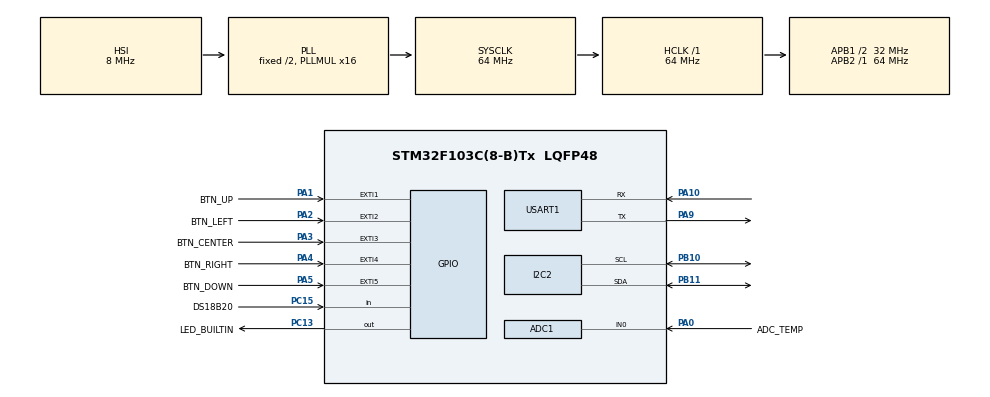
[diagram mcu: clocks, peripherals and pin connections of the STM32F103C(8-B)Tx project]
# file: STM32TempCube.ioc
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ADC1.Channel-0\#ChannelRegularConversion=ADC_CHANNEL_0
ADC1.NbrOfConversion=1
ADC1.NbrOfConversionFlag=1
ADC1.Rank-0\#ChannelRegularConversion=1
ADC1.SamplingTime-0\#ChannelRegularConversion=ADC_SAMPLETIME_1CYCLE_5
ADC1.master=1
I2C2.I2C_Mode=I2C_Fast
Mcu.Family=STM32F1
Mcu.Name=STM32F103C(8-B)Tx
Mcu.Package=LQFP48
Mcu.UserConstants=BTN_CHECK_PERIOD_MS,10
NVIC.EXTI1_IRQn=true\:0\:0\:false\:false\:true\:true\:true
NVIC.EXTI2_IRQn=true\:0\:0\:false\:false\:true\:true\:true
NVIC.EXTI3_IRQn=true\:0\:0\:false\:false\:true\:true\:true
NVIC.EXTI4_IRQn=true\:0\:0\:false\:false\:true\:true\:true
NVIC.EXTI9_5_IRQn=true\:0\:0\:false\:false\:true\:true\:true
NVIC.PriorityGroup=NVIC_PRIORITYGROUP_4
NVIC.TIM4_IRQn=true\:0\:0\:false\:false\:true\:true\:true
NVIC.USART1_IRQn=true\:0\:0\:false\:false\:true\:true\:true
PA0-WKUP.GPIO_Label=ADC_TEMP
PA0-WKUP.Signal=ADCx_IN0
PA1.GPIO_Label=BTN_UP
PA1.GPIO_ModeDefaultEXTI=GPIO_MODE_IT_RISING_FALLING
PA1.GPIO_PuPd=GPIO_PULLUP
PA1.Signal=GPXTI1
PA10.Mode=Asynchronous
PA10.Signal=USART1_RX
PA13.Mode=Serial_Wire
PA13.Signal=SYS_JTMS-SWDIO
PA14.Mode=Serial_Wire
PA14.Signal=SYS_JTCK-SWCLK
PA2.GPIO_Label=BTN_LEFT
PA2.GPIO_ModeDefaultEXTI=GPIO_MODE_IT_RISING_FALLING
PA2.GPIO_PuPd=GPIO_PULLUP
PA2.Signal=GPXTI2
PA3.GPIO_Label=BTN_CENTER
PA3.GPIO_ModeDefaultEXTI=GPIO_MODE_IT_RISING_FALLING
PA3.GPIO_PuPd=GPIO_PULLUP
PA3.Signal=GPXTI3
PA4.GPIO_Label=BTN_RIGHT
PA4.GPIO_ModeDefaultEXTI=GPIO_MODE_IT_RISING_FALLING
PA4.GPIO_PuPd=GPIO_PULLUP
PA4.Signal=GPXTI4
PA5.GPIO_Label=BTN_DOWN
PA5.GPIO_ModeDefaultEXTI=GPIO_MODE_IT_RISING_FALLING
PA5.GPIO_PuPd=GPIO_PULLUP
PA5.Signal=GPXTI5
PA9.Mode=Asynchronous
PA9.Signal=USART1_TX
PB10.Mode=I2C
PB10.Signal=I2C2_SCL
PB11.Mode=I2C
PB11.Signal=I2C2_SDA
PC13-TAMPER-RTC.GPIO_Label=LED_BUILTIN
PC13-TAMPER-RTC.Signal=GPIO_Output
PC15-OSC32_OUT.GPIO_Label=DS18B20
PC15-OSC32_OUT.GPIO_PuPd=GPIO_PULLUP
PC15-OSC32_OUT.Signal=GPIO_Input
ProjectManager.HeapSize=0x200
ProjectManager.StackSize=0x400
ProjectManager.TargetToolchain=STM32CubeIDE
RCC.ADCPresc=RCC_ADCPCLK2_DIV8
RCC.AHBFreq_Value=64000000
RCC.APB1CLKDivider=RCC_HCLK_DIV2
RCC.APB1Freq_Value=32000000
RCC.APB1TimFreq_Value=64000000
RCC.APB2Freq_Value=64000000
RCC.APB2TimFreq_Value=64000000
RCC.HCLKFreq_Value=64000000
RCC.PLLMUL=RCC_PLL_MUL16
RCC.SYSCLKFreq_VALUE=64000000
RCC.SYSCLKSource=RCC_SYSCLKSOURCE_PLLCLK
RCC.USBFreq_Value=64000000
SH.ADCx_IN0.0=ADC1_IN0,IN0
TIM1.Period=0xffff-1
TIM1.Prescaler=64-1
TIM4.Period=(64 * BTN_CHECK_PERIOD_MS)-1
TIM4.Prescaler=1000-1
USART1.VirtualMode=VM_ASYNC
VP_TIM1_VS_ClockSourceINT.Mode=Internal
VP_TIM4_VS_ClockSourceINT.Mode=Internal
board=custom

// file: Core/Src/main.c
/* USER CODE BEGIN Header */
/**
 ******************************************************************************
 * @file           : main.c
 * @brief          : Main program body
 ******************************************************************************
 * @attention
 *
 * <h2><center>&copy; Copyright (c) 2020 STMicroelectronics.
 * All rights reserved.</center></h2>
 *
 * This software component is licensed by ST under BSD 3-Clause license,
 * the "License"; You may not use this file except in compliance with the
 * License. You may obtain a copy of the License at:
 *                        opensource.org/licenses/BSD-3-Clause
 *
 ******************************************************************************
 * Notes:
 * RTC is not accurate. Runs at ~x1.07 speed.
 */

/* USER CODE END Header */
#include "main.h"

/* USER CODE BEGIN Includes */
#include <stdio.h>
#include <stdarg.h>

#include "fonts.h"
#include "ssd1306.h"
#include "bmp280.h"
//#include "ds18b20.h"
/* USER CODE END Includes */

/* USER CODE BEGIN PD */
#define MIN(A, B) A < B? A : B
#define MAX(A, B) A > B? A : B

#define TEMP_FAILED -404
#define TEMP_MIN -20.0
#define TEMP_MAX 80.0
#define ADC_CALIB_SLOPE -0.1169
#define ADC_CALIB_BIAS 374.24
#define CYCLE_PERIOD_MS (int)(5 * 60 * 1000) // Min cycle period is 2000
#define CYCLES_PER_DAY (int)(24 * 3600 * 1000 / CYCLE_PERIOD_MS)

#define EEPROM_ADDRESS 0xA0                         // 0b1010(A2)(A1)(A0)(R/W) = 0b1010000
#define EEPROM_SIZE_BYTES 32768                     // 65536 bytes for 512kbit version
#define EEPROM_PAGE_SIZE 64                         // Although AT24C512 page size is 128B but 64B is more portable
#define EEPROM_PAGE_TEMP_COUNT EEPROM_PAGE_SIZE / 2 // Temperature readings per page
#define EEPROM_BLOCK_ERASE_SIZE 64                  // Can be <=EEPORM_PAGE_SIZE
#define EEPROM_ERASED_VALUE 0xFF
#define EEPROM_ERASED_TEMP 0xFFFF

#define CYCLE_MEM_SIZE_BYTES 6 // Amount of data needed to store data one cycle
#define ADDR_TEMP 1024
//#define ADDR_BOOT_DATA 0          // Address of boot data
//#define ADDR_BOOT_DATA_LAST 1023  // Last address of boot data

#define FONT_SPACING 13

#define DEBOUNCE_PERIOD_MS 29
#define BTN_COUNT 5 // Number of buttons on the keypad
#define NO_PIN 0x00 // Dummy pin. Should be mapped to no pin in HAL library (check to be sure)
/* USER CODE END PD */

ADC_HandleTypeDef hadc1;

I2C_HandleTypeDef hi2c2;

TIM_HandleTypeDef htim1;
TIM_HandleTypeDef htim4;

UART_HandleTypeDef huart1;

/* USER CODE BEGIN PV */
/*
 typedef struct
 {
 // Do not change order
 uint8_t hr :5;
 uint8_t min :6;
 uint8_t sec :6;
 // padding 1 byte
 uint16_t ms :10;
 } Time;
 */

typedef struct
{
	uint32_t ms_change;  // Last time button state changed in ms
	uint8_t state :1;
	uint8_t prev_state :1;
	uint8_t do_debounce_checks :1; // If false skips global debounce check to preserve prev_state
} ButtonDebounced;

typedef struct
{
	uint16_t temp_1w;
	uint16_t temp_i2c;
	uint16_t temp_adc;
} Temps16;

BMP280_HandleTypedef bmp280;
volatile ButtonDebounced btn_arr[BTN_COUNT + 1] = {};  // All set to 0

static const uint16_t btn_mapping[] = { NO_PIN, BTN_UP_Pin, BTN_LEFT_Pin, BTN_CENTER_Pin, BTN_RIGHT_Pin, BTN_DOWN_Pin };

volatile uint32_t ms_ticks = 0; // Good for 49.7 days
static int cycle_count = 0;
static uint32_t next_cycle_tick = 0;
/* USER CODE END PV */

void SystemClock_Config(void);
static void MX_GPIO_Init(void);
static void MX_USART1_UART_Init(void);
static void MX_TIM1_Init(void);
static void MX_I2C2_Init(void);
static void MX_ADC1_Init(void);
static void MX_TIM4_Init(void);
/* USER CODE BEGIN PFP */

void Reset_Cycles(void);

void BMP280_Init(void);
void ADC_Init(void);
float DS18B20_Read_Temp(void);
float BMP280_Read_Temp(void);
float ADC_Read_Temp(void);

void EEPROM_Read(uint16_t mem_addr, uint8_t *p_data, uint16_t data_size);
void EEPROM_Write(uint16_t mem_addr, uint8_t *p_data, uint16_t data_size);
void EEPROM_Erase(void);

void Temp_Save_Single(uint16_t place, uint16_t temp);
void Temp_Save(uint16_t place, Temps16 temps);
uint16_t Temp_Read_Single(uint16_t place);
Temps16 Temp_Read(uint16_t place);
uint16_t Temp_Next_Free_Place(void);
void Temp_Send_UART(void);
uint16_t Temp_Enc(const float temp); // Encode temperature
float Temp_Dec(const uint16_t temp); // Decode temperature

void Print_Info(const char *info);
void Print_Time(uint16_t time, uint16_t off_v);
void Print_Simple(uint8_t line, const char *format, ...);
void Print_Temps(uint8_t line, Temps16 temps);
void Print_Booting_Info(void);
void Clear_Booting_Info(void);

void Set_Pin_Output(GPIO_TypeDef *GPIOx, uint16_t GPIO_Pin);
void Set_Pin_Input(GPIO_TypeDef *GPIOx, uint16_t GPIO_Pin);
void Delay_Us(uint16_t us);

uint8_t DS18B20_Start(void);
void DS18B20_Write(uint8_t data);
uint8_t DS18B20_Read(void);

//Time Get_Time(void);
float Clamp(float val, float min, float max);

void Btn_Init(void);
uint8_t Btn_Index(const uint16_t btn_pin);
uint8_t Btn_Read(const uint16_t btn_pin);
uint8_t Btn_Hold(const uint16_t btn_pin, const uint16_t hold_time_ms);
uint8_t Btn_Falling(const uint16_t btn_pin);
uint8_t Btn_Rising(const uint16_t btn_pin);
void Button_Actions(void);

Temps16 Temp_Max_All_Time(void);
Temps16 Temp_Max_Last_Day(void);
Temps16 Temp_Min_All_Time(void);
Temps16 Temp_Min_Last_Day(void);

/* USER CODE END PFP */

int main(void)
{

	/* MCU Configuration--------------------------------------------------------*/

	/* Reset of all peripherals, Initializes the Flash interface and the Systick. */
	HAL_Init();

	/* Configure the system clock */
	SystemClock_Config();

	/* Initialize all configured peripherals */
	MX_GPIO_Init();
	MX_USART1_UART_Init();
	MX_TIM1_Init();
	MX_I2C2_Init();
	MX_ADC1_Init();
	MX_TIM4_Init();
	/* USER CODE BEGIN 2 */
	Btn_Init();
	SSD1306_Init();
	Print_Booting_Info();
	HAL_TIM_Base_Start(&htim1);
	BMP280_Init();
	ADC_Init();

	// Send temperature data via UART
	if (Btn_Read(BTN_UP_Pin))
	{
		Print_Info("Sending\n");
		Temp_Send_UART();
		Print_Info("Reboot to run\n");

		while (1)
			; // Halt
	}

	HAL_Delay(1000);
	Clear_Booting_Info();
	/* USER CODE END 2 */

	/* Infinite loop */
	/* USER CODE BEGIN WHILE */
	Reset_Cycles();
	next_cycle_tick += CYCLE_PERIOD_MS;
	cycle_count = Temp_Next_Free_Place();
	Temps16 temps;
	while (1)
	{
		cycle_count++;
		Print_Simple(0, "RUNNING: %04u\n", cycle_count);

		// Check is there space left
		if (cycle_count >= EEPROM_SIZE_BYTES / sizeof(Temps16))
		{
			while (1)
			{
				Print_Simple(0, " -DONE-: %04u\n", cycle_count);
				Print_Temps(1, temps);
				Print_Simple(2, " Reboot to restart");
				Print_Simple(3, " Or Reboot holding");
				Print_Simple(4, "Btn Up to send data");
				Button_Actions();
				SSD1306_UpdateScreen();
				HAL_Delay(200);
			}
		}

		// Measuring and saving temperature to EEPROM
		temps.temp_1w = Temp_Enc(DS18B20_Read_Temp());
		temps.temp_i2c = Temp_Enc(BMP280_Read_Temp());
		temps.temp_adc = Temp_Enc(ADC_Read_Temp()); // First reading is off by 3deg

		Temp_Save(cycle_count - 1, temps);

		// Displaying current info
		Print_Temps(1, temps);
		SSD1306_DrawLine(0, FONT_SPACING * 2 - 2, 128, FONT_SPACING * 2 - 2, 1);
		SSD1306_UpdateScreen();

		// Idling & polling buttons for actions
		while (ms_ticks < next_cycle_tick)
			Button_Actions();

		next_cycle_tick += CYCLE_PERIOD_MS;

		/* USER CODE END WHILE */

	}
}

void SystemClock_Config(void)
{
	RCC_OscInitTypeDef RCC_OscInitStruct = { 0 };
	RCC_ClkInitTypeDef RCC_ClkInitStruct = { 0 };
	RCC_PeriphCLKInitTypeDef PeriphClkInit = { 0 };

	/** Initializes the RCC Oscillators according to the specified parameters
	 * in the RCC_OscInitTypeDef structure.
	 */
	RCC_OscInitStruct.OscillatorType = RCC_OSCILLATORTYPE_HSI;
	RCC_OscInitStruct.HSIState = RCC_HSI_ON;
	RCC_OscInitStruct.HSICalibrationValue = RCC_HSICALIBRATION_DEFAULT;
	RCC_OscInitStruct.PLL.PLLState = RCC_PLL_ON;
	RCC_OscInitStruct.PLL.PLLSource = RCC_PLLSOURCE_HSI_DIV2;
	RCC_OscInitStruct.PLL.PLLMUL = RCC_PLL_MUL16;
	if (HAL_RCC_OscConfig(&RCC_OscInitStruct) != HAL_OK)
	{
		Error_Handler();
	}
	/** Initializes the CPU, AHB and APB buses clocks
	 */
	RCC_ClkInitStruct.ClockType = RCC_CLOCKTYPE_HCLK | RCC_CLOCKTYPE_SYSCLK | RCC_CLOCKTYPE_PCLK1 | RCC_CLOCKTYPE_PCLK2;
	RCC_ClkInitStruct.SYSCLKSource = RCC_SYSCLKSOURCE_PLLCLK;
	RCC_ClkInitStruct.AHBCLKDivider = RCC_SYSCLK_DIV1;
	RCC_ClkInitStruct.APB1CLKDivider = RCC_HCLK_DIV2;
	RCC_ClkInitStruct.APB2CLKDivider = RCC_HCLK_DIV1;

	if (HAL_RCC_ClockConfig(&RCC_ClkInitStruct, FLASH_LATENCY_2) != HAL_OK)
	{
		Error_Handler();
	}
	PeriphClkInit.PeriphClockSelection = RCC_PERIPHCLK_ADC;
	PeriphClkInit.AdcClockSelection = RCC_ADCPCLK2_DIV8;
	if (HAL_RCCEx_PeriphCLKConfig(&PeriphClkInit) != HAL_OK)
	{
		Error_Handler();
	}
}

static void MX_ADC1_Init(void)
{

	ADC_ChannelConfTypeDef sConfig = { 0 };

	/** Common config
	 */
	hadc1.Instance = ADC1;
	hadc1.Init.ScanConvMode = ADC_SCAN_DISABLE;
	hadc1.Init.ContinuousConvMode = DISABLE;
	hadc1.Init.DiscontinuousConvMode = DISABLE;
	hadc1.Init.ExternalTrigConv = ADC_SOFTWARE_START;
	hadc1.Init.DataAlign = ADC_DATAALIGN_RIGHT;
	hadc1.Init.NbrOfConversion = 1;
	if (HAL_ADC_Init(&hadc1) != HAL_OK)
	{
		Error_Handler();
	}
	/** Configure Regular Channel
	 */
	sConfig.Channel = ADC_CHANNEL_0;
	sConfig.Rank = ADC_REGULAR_RANK_1;
	sConfig.SamplingTime = ADC_SAMPLETIME_1CYCLE_5;
	if (HAL_ADC_ConfigChannel(&hadc1, &sConfig) != HAL_OK)
	{
		Error_Handler();
	}

}

static void MX_I2C2_Init(void)
{

	hi2c2.Instance = I2C2;
	hi2c2.Init.ClockSpeed = 400000;
	hi2c2.Init.DutyCycle = I2C_DUTYCYCLE_2;
	hi2c2.Init.OwnAddress1 = 0;
	hi2c2.Init.AddressingMode = I2C_ADDRESSINGMODE_7BIT;
	hi2c2.Init.DualAddressMode = I2C_DUALADDRESS_DISABLE;
	hi2c2.Init.OwnAddress2 = 0;
	hi2c2.Init.GeneralCallMode = I2C_GENERALCALL_DISABLE;
	hi2c2.Init.NoStretchMode = I2C_NOSTRETCH_DISABLE;
	if (HAL_I2C_Init(&hi2c2) != HAL_OK)
	{
		Error_Handler();
	}

}

static void MX_TIM1_Init(void)
{

	TIM_ClockConfigTypeDef sClockSourceConfig = { 0 };
	TIM_MasterConfigTypeDef sMasterConfig = { 0 };

	htim1.Instance = TIM1;
	htim1.Init.Prescaler = 64 - 1;
	htim1.Init.CounterMode = TIM_COUNTERMODE_UP;
	htim1.Init.Period = 0xffff - 1;
	htim1.Init.ClockDivision = TIM_CLOCKDIVISION_DIV1;
	htim1.Init.RepetitionCounter = 0;
	htim1.Init.AutoReloadPreload = TIM_AUTORELOAD_PRELOAD_DISABLE;
	if (HAL_TIM_Base_Init(&htim1) != HAL_OK)
	{
		Error_Handler();
	}
	sClockSourceConfig.ClockSource = TIM_CLOCKSOURCE_INTERNAL;
	if (HAL_TIM_ConfigClockSource(&htim1, &sClockSourceConfig) != HAL_OK)
	{
		Error_Handler();
	}
	sMasterConfig.MasterOutputTrigger = TIM_TRGO_RESET;
	sMasterConfig.MasterSlaveMode = TIM_MASTERSLAVEMODE_DISABLE;
	if (HAL_TIMEx_MasterConfigSynchronization(&htim1, &sMasterConfig) != HAL_OK)
	{
		Error_Handler();
	}

}

static void MX_TIM4_Init(void)
{

	TIM_ClockConfigTypeDef sClockSourceConfig = { 0 };
	TIM_MasterConfigTypeDef sMasterConfig = { 0 };

	htim4.Instance = TIM4;
	htim4.Init.Prescaler = 1000 - 1;
	htim4.Init.CounterMode = TIM_COUNTERMODE_UP;
	htim4.Init.Period = (64 * BTN_CHECK_PERIOD_MS) - 1;
	htim4.Init.ClockDivision = TIM_CLOCKDIVISION_DIV1;
	htim4.Init.AutoReloadPreload = TIM_AUTORELOAD_PRELOAD_DISABLE;
	if (HAL_TIM_Base_Init(&htim4) != HAL_OK)
	{
		Error_Handler();
	}
	sClockSourceConfig.ClockSource = TIM_CLOCKSOURCE_INTERNAL;
	if (HAL_TIM_ConfigClockSource(&htim4, &sClockSourceConfig) != HAL_OK)
	{
		Error_Handler();
	}
	sMasterConfig.MasterOutputTrigger = TIM_TRGO_RESET;
	sMasterConfig.MasterSlaveMode = TIM_MASTERSLAVEMODE_DISABLE;
	if (HAL_TIMEx_MasterConfigSynchronization(&htim4, &sMasterConfig) != HAL_OK)
	{
		Error_Handler();
	}

}

static void MX_USART1_UART_Init(void)
{

	huart1.Instance = USART1;
	huart1.Init.BaudRate = 115200;
	huart1.Init.WordLength = UART_WORDLENGTH_8B;
	huart1.Init.StopBits = UART_STOPBITS_1;
	huart1.Init.Parity = UART_PARITY_NONE;
	huart1.Init.Mode = UART_MODE_TX_RX;
	huart1.Init.HwFlowCtl = UART_HWCONTROL_NONE;
	huart1.Init.OverSampling = UART_OVERSAMPLING_16;
	if (HAL_UART_Init(&huart1) != HAL_OK)
	{
		Error_Handler();
	}

}

static void MX_GPIO_Init(void)
{
	GPIO_InitTypeDef GPIO_InitStruct = { 0 };

	/* GPIO Ports Clock Enable */
	__HAL_RCC_GPIOC_CLK_ENABLE();
	__HAL_RCC_GPIOA_CLK_ENABLE();
	__HAL_RCC_GPIOB_CLK_ENABLE();

	/*Configure GPIO pin Output Level */
	HAL_GPIO_WritePin(LED_BUILTIN_GPIO_Port, LED_BUILTIN_Pin, GPIO_PIN_RESET);

	/*Configure GPIO pin : LED_BUILTIN_Pin */
	GPIO_InitStruct.Pin = LED_BUILTIN_Pin;
	GPIO_InitStruct.Mode = GPIO_MODE_OUTPUT_PP;
	GPIO_InitStruct.Pull = GPIO_NOPULL;
	GPIO_InitStruct.Speed = GPIO_SPEED_FREQ_LOW;
	HAL_GPIO_Init(LED_BUILTIN_GPIO_Port, &GPIO_InitStruct);

	/*Configure GPIO pin : DS18B20_Pin */
	GPIO_InitStruct.Pin = DS18B20_Pin;
	GPIO_InitStruct.Mode = GPIO_MODE_INPUT;
	GPIO_InitStruct.Pull = GPIO_PULLUP;
	HAL_GPIO_Init(DS18B20_GPIO_Port, &GPIO_InitStruct);

	/*Configure GPIO pins : BTN_UP_Pin BTN_LEFT_Pin BTN_CENTER_Pin BTN_RIGHT_Pin
	 BTN_DOWN_Pin */
	GPIO_InitStruct.Pin = BTN_UP_Pin | BTN_LEFT_Pin | BTN_CENTER_Pin | BTN_RIGHT_Pin | BTN_DOWN_Pin;
	GPIO_InitStruct.Mode = GPIO_MODE_IT_RISING_FALLING;
	GPIO_InitStruct.Pull = GPIO_PULLUP;
	HAL_GPIO_Init(GPIOA, &GPIO_InitStruct);

	/* EXTI interrupt init*/
	HAL_NVIC_SetPriority(EXTI1_IRQn, 0, 0);
	HAL_NVIC_EnableIRQ(EXTI1_IRQn);

	HAL_NVIC_SetPriority(EXTI2_IRQn, 0, 0);
	HAL_NVIC_EnableIRQ(EXTI2_IRQn);

	HAL_NVIC_SetPriority(EXTI3_IRQn, 0, 0);
	HAL_NVIC_EnableIRQ(EXTI3_IRQn);

	HAL_NVIC_SetPriority(EXTI4_IRQn, 0, 0);
	HAL_NVIC_EnableIRQ(EXTI4_IRQn);

	HAL_NVIC_SetPriority(EXTI9_5_IRQn, 0, 0);
	HAL_NVIC_EnableIRQ(EXTI9_5_IRQn);

}

/* USER CODE BEGIN 4 */
void Reset_Cycles(void)
{
	cycle_count = 0;
	next_cycle_tick = ms_ticks;
}

void BMP280_Init(void)
{
	bmp280_init_default_params(&bmp280.params);
	bmp280.addr = BMP280_I2C_ADDRESS_0;
	bmp280.i2c = &hi2c2;

	if (!bmp280_init(&bmp280, &bmp280.params))
	{
		Print_Info("I2C init FAILED\n");
		HAL_Delay(1000);
	}

//	bool bme280p = (bmp280.id == BME280_CHIP_ID);
//	Print_Simple(9, (char*)Data, "BMP280: found %s\n", bme280p ? "BME280" : "BMP280");
}

void ADC_Init(void)
{
	// Discards first bad reading
	ADC_Read_Temp();
}

float DS18B20_Read_Temp(void)
{
	// Start temperature sensing and wait until it's done
	int s1 = DS18B20_Start();
	DS18B20_Write(0xCC); // Skip ROM
	DS18B20_Write(0x44); // Convert t
	HAL_Delay(800); // Waiting for conversion to end

	// Read acquired temperature
	int s2 = DS18B20_Start();
	DS18B20_Write(0xCC); // Skip ROM
	DS18B20_Write(0xBE); // Read Scratch-pad
	uint8_t temp_byte1 = DS18B20_Read();
	uint8_t temp_byte2 = DS18B20_Read();

	if (!s1 || !s2)
	{
		Print_Info("1-Wire Failed");
		HAL_Delay(500);
		return TEMP_FAILED;
	}

	// Decode temperature
	uint16_t temp = (temp_byte2 << 8) | temp_byte1;
	float temperature = (float)temp / 16.0;

	return temperature;
}

float BMP280_Read_Temp(void)
{
	float pressure, temperature, humidity;

	if (!bmp280_read_float(&bmp280, &temperature, &pressure, &humidity))
	{
		Print_Info("I2C read FAILED\n");
		HAL_Delay(500);
		temperature = TEMP_FAILED;
	}

	return temperature;
}

float ADC_Read_Temp(void)
{
	uint8_t readings_num = 10;
	float temperature;
	uint32_t adc_val = 0;

	HAL_ADC_Start(&hadc1);
	for (int i = 0; i < readings_num; i++)
	{
		HAL_ADC_PollForConversion(&hadc1, 10);
		adc_val += HAL_ADC_GetValue(&hadc1);
		HAL_Delay(1);
	}
	adc_val /= readings_num;

	temperature = ADC_CALIB_SLOPE * adc_val + ADC_CALIB_BIAS; // ADC value to temperature conversion

	return temperature;
}

void EEPROM_Read(uint16_t mem_addr, uint8_t *p_data, uint16_t data_size)
{
	while (HAL_I2C_Mem_Read(&hi2c2, EEPROM_ADDRESS, mem_addr, I2C_MEMADD_SIZE_16BIT, p_data, data_size, 1000) != HAL_OK)
		HAL_Delay(1);
}

void EEPROM_Write(uint16_t mem_addr, uint8_t *p_data, uint16_t data_size)
{
	// TODO maybe: Needs checking for page crossing; page = 64B. Or else use carefully
	while (HAL_I2C_Mem_Write(&hi2c2, EEPROM_ADDRESS, mem_addr, I2C_MEMADD_SIZE_16BIT, p_data, data_size, 1000) != HAL_OK)
		HAL_Delay(1);
}

void EEPROM_Erase(void)
{
	uint8_t erased[EEPROM_BLOCK_ERASE_SIZE];
	memset(erased, EEPROM_ERASED_VALUE, sizeof(erased));

	for (int i = 0; i < (int)(EEPROM_SIZE_BYTES / EEPROM_BLOCK_ERASE_SIZE); i++)
	{
		while (HAL_I2C_Mem_Write(&hi2c2, EEPROM_ADDRESS, i * EEPROM_BLOCK_ERASE_SIZE,
		I2C_MEMADD_SIZE_16BIT, erased, EEPROM_BLOCK_ERASE_SIZE, 1000) != HAL_OK)
			HAL_Delay(1);
	}
}

void Temp_Save_Single(uint16_t place, uint16_t temp)
{
	EEPROM_Write(ADDR_TEMP + 2 * place, (uint8_t*)&temp, 2); // Won't cross page boundary 64 % 2 = 0
}

void Temp_Save(uint16_t place, Temps16 temps)
{
	// Saved separately to prevent page boundary crossing
	Temp_Save_Single(3 * place + 0, temps.temp_1w);
	Temp_Save_Single(3 * place + 1, temps.temp_i2c);
	Temp_Save_Single(3 * place + 2, temps.temp_adc);
}

uint16_t Temp_Read_Single(uint16_t place)
{
	uint16_t temp_encoded;
	EEPROM_Read(ADDR_TEMP + sizeof(temp_encoded) * place, (uint8_t*)&temp_encoded, sizeof(temp_encoded));
	return temp_encoded;
}

Temps16 Temp_Read(uint16_t place)
{
	Temps16 temps;
	EEPROM_Read(ADDR_TEMP + sizeof(temps) * place, (uint8_t*)&temps, sizeof(temps));
	return temps;
}

uint16_t Temp_Next_Free_Place(void)
{
	int i;
	for (i = 0; i < EEPROM_SIZE_BYTES / sizeof(Temps16); i++)
	{
		Temps16 t = Temp_Read(i);
		if (t.temp_adc == EEPROM_ERASED_TEMP)
			break;
	}

	return i;
}

// Send temperature data via UART in CSV format
void Temp_Send_UART(void)
{
	const uint8_t num_of_temp_channels = 3;
	char text[16];
	uint8_t text_len;

	// Reading number
	const uint16_t readings_count = Temp_Next_Free_Place();
	for (int i = 0; i < readings_count; i++)
	{
		text_len = sprintf(text, "%d,", i);
		HAL_UART_Transmit(&huart1, (uint8_t*)text, text_len, 10);
	}
	HAL_UART_Transmit(&huart1, (uint8_t*)"\n", 1, 10);

	// Temperatures in 3 rows
	for (int i = 0; i < num_of_temp_channels; i++)
	{
		for (int j = i; j < EEPROM_SIZE_BYTES; j += num_of_temp_channels)
		{
			uint16_t temp = Temp_Read_Single(j);
			if (temp == EEPROM_ERASED_TEMP)
				break;

			float temp_float = Temp_Dec(temp);
			text_len = sprintf(text, "%.3f,", temp_float);
			HAL_UART_Transmit(&huart1, (uint8_t*)text, text_len, 10);

			if (j % 100 == 0)
				HAL_Delay(10);
		}
		HAL_UART_Transmit(&huart1, (uint8_t*)"\n", 1, 10);
	}
}

// Encode temperature
uint16_t Temp_Enc(const float temp)
{
	float temp_clamped = Clamp(temp, TEMP_MIN, TEMP_MAX);
	return (temp_clamped + 20) * 655;
}

// Decode temperature
float Temp_Dec(const uint16_t temp)
{
	return (float)temp / 655.0 - 20.0;
}

void Print_Info(const char *info)
{
	Print_Simple(0, info);
	SSD1306_UpdateScreen();
}

// For debugging
void Print_Time(uint16_t time, uint16_t off_v)
{
	char text[50];
	sprintf(text, "us: %x", time);
	SSD1306_GotoXY(0, off_v);
	SSD1306_Puts(text, &Font_7x10, 1);
}

// For debugging
void Print_Simple(uint8_t line, const char *format, ...)
{
	char text[128];
	int text_len;

	va_list args;
	va_start(args, format);

// Send via UART and display on screen
	text_len = vsprintf(text, format, args);
	HAL_UART_Transmit(&huart1, (uint8_t*)text, text_len, 1000);

// Clear line
	SSD1306_GotoXY(0, FONT_SPACING * line);
	SSD1306_Puts("                    ", &Font_7x10, 1);

// Clear \n character for display
	if (text[text_len - 1] == '\n')
		text[text_len - 1] = '\0';

	SSD1306_GotoXY(0, FONT_SPACING * line);
	SSD1306_Puts(text, &Font_7x10, 1);
	SSD1306_UpdateScreen(); // Could be removed for performance and updated only when needed

	va_end(args);
}

void Print_Temps(uint8_t line, Temps16 temps)
{
	Print_Simple(line, "%0.2f %0.2f %0.2f\n", Temp_Dec(temps.temp_1w), Temp_Dec(temps.temp_i2c), Temp_Dec(temps.temp_adc));
}

void Print_Booting_Info(void)
{
	Print_Info("BOOTING\n");
	Print_Simple(2, " Reboot holding\n");
	Print_Simple(3, "  Button UP to\n");
	Print_Simple(4, "send data via UART\n");
	SSD1306_UpdateScreen();
}

void Clear_Booting_Info(void)
{
	Print_Info("");
	Print_Simple(2, "");
	Print_Simple(3, "");
	Print_Simple(4, "");
	SSD1306_UpdateScreen();
}

void Set_Pin_Output(GPIO_TypeDef *GPIOx, uint16_t GPIO_Pin)
{
	GPIO_InitTypeDef GPIO_InitStruct = { 0 };
	GPIO_InitStruct.Pin = GPIO_Pin;
	GPIO_InitStruct.Mode = GPIO_MODE_OUTPUT_PP;
	GPIO_InitStruct.Speed = GPIO_SPEED_FREQ_LOW;
	HAL_GPIO_Init(GPIOx, &GPIO_InitStruct);
}

void Set_Pin_Input(GPIO_TypeDef *GPIOx, uint16_t GPIO_Pin)
{
	GPIO_InitTypeDef GPIO_InitStruct = { 0 };
	GPIO_InitStruct.Pin = GPIO_Pin;
	GPIO_InitStruct.Mode = GPIO_MODE_INPUT;
	GPIO_InitStruct.Pull = GPIO_PULLUP;
	HAL_GPIO_Init(GPIOx, &GPIO_InitStruct);
}

void Delay_Us(uint16_t us)
{
	__HAL_TIM_SET_COUNTER(&htim1, 0); // Set the counter value a 0
	while (__HAL_TIM_GET_COUNTER(&htim1) < us)
		; // Wait for the counter to reach the us input in the parameter
}

uint8_t DS18B20_Start(void)
{
	uint8_t presence = 0;

	Set_Pin_Output(DS18B20_GPIO_Port, DS18B20_Pin);
	HAL_GPIO_WritePin(DS18B20_GPIO_Port, DS18B20_Pin, 0);
	Delay_Us(480);

	Set_Pin_Input(DS18B20_GPIO_Port, DS18B20_Pin);
	Delay_Us(100); // min: 30us max ~240us

	if (!(HAL_GPIO_ReadPin(DS18B20_GPIO_Port, DS18B20_Pin)))
		presence = 1;
	else
		presence = 0;

	Delay_Us(380); // Min total delay 480 us

	return presence;
}

void DS18B20_Write(uint8_t data)
{
	Set_Pin_Output(DS18B20_GPIO_Port, DS18B20_Pin);

	for (int i = 0; i < 8; i++)
	{
		if ((data & (1 << i)) != 0)
		{
			// Write 1
			Set_Pin_Output(DS18B20_GPIO_Port, DS18B20_Pin);
			HAL_GPIO_WritePin(DS18B20_GPIO_Port, DS18B20_Pin, 0);
			Delay_Us(2); // Mininum 1us to pull low
			Set_Pin_Input(DS18B20_GPIO_Port, DS18B20_Pin);
			Delay_Us(60); // DS18B20 samples state after 15-60us from falling edge
		}
		else
		{
			// Write 0
			Set_Pin_Output(DS18B20_GPIO_Port, DS18B20_Pin);
			HAL_GPIO_WritePin(DS18B20_GPIO_Port, DS18B20_Pin, 0);
			Delay_Us(60); // DS18B20 samples state after 15-60us from falling edge
			Set_Pin_Input(DS18B20_GPIO_Port, DS18B20_Pin);
			Delay_Us(1);
		}
	}
}

uint8_t DS18B20_Read(void)
{
	uint8_t value = 0;
	Set_Pin_Input(DS18B20_GPIO_Port, DS18B20_Pin);

	for (int i = 0; i < 8; i++)
	{
		Set_Pin_Output(DS18B20_GPIO_Port, DS18B20_Pin);

		HAL_GPIO_WritePin(DS18B20_GPIO_Port, DS18B20_Pin, 0);
		Delay_Us(2);
		Set_Pin_Input(DS18B20_GPIO_Port, DS18B20_Pin);
		if (HAL_GPIO_ReadPin(DS18B20_GPIO_Port, DS18B20_Pin))  // If the pin is HIGH
			value |= 1 << i;  // read = 1

		Delay_Us(60);
	}

	return value;
}

/*
 Time Get_Time(void)
 {
 Time t;
 t.ms = ms_ticks % 1000;
 t.sec = (ms_ticks / 1000) % 60;
 t.min = (ms_ticks / 1000 / 60) % 60;
 t.hr = (ms_ticks / 1000 / 60 / 60) % 24;

 return t;
 }
 */

float Clamp(float val, float min, float max)
{
	val = val < min ? min : val;
	return val > max ? max : val;
}

void HAL_IncTick(void)
{
	ms_ticks++;
	uwTick += uwTickFreq;  // DO NOT MODIFY THIS LINE
}

// Starts button debouncing routine
void HAL_GPIO_EXTI_Callback(uint16_t GPIO_Pin)
{
	uint8_t ind = Btn_Index(GPIO_Pin);
	if (ind != 0)
	{
		btn_arr[ind].ms_change = ms_ticks;
		btn_arr[ind].do_debounce_checks = true;
		HAL_TIM_Base_Start_IT(&htim4);  // Burst check for bouncing
	}
}

// Handles buttons debouncing
void HAL_TIM_PeriodElapsedCallback(TIM_HandleTypeDef *htim)
{
	static uint8_t keep_running;

	keep_running = false;
	for (int i = 1; i < sizeof(btn_mapping); i++)
	{
		if (btn_arr[i].do_debounce_checks)
		{
			keep_running = true;
			if (ms_ticks - btn_arr[i].ms_change >= DEBOUNCE_PERIOD_MS + 1)
			{
				btn_arr[i].prev_state = btn_arr[i].state;
				btn_arr[i].state = !HAL_GPIO_ReadPin(BTN_UP_GPIO_Port, btn_mapping[i]); // Invert because pull-up
				btn_arr[i].do_debounce_checks = false;  // To preserve prev_state
			}
		}
	}

// Stop timer/debouncing button because no new input is received
	if (!keep_running)
		HAL_TIM_Base_Stop_IT(&htim4);
}

// Get initial button states
void Btn_Init(void)
{
	for (int i = 1; i < BTN_COUNT + 1; i++)
	{
		btn_arr[i].ms_change = ms_ticks;
		btn_arr[i].do_debounce_checks = true;
	}
	HAL_TIM_Base_Start_IT(&htim4);  // Burst check for bouncing
}

uint8_t Btn_Index(const uint16_t btn_pin)
{
	for (int i = 1; i < sizeof(btn_mapping); i++)
		if (btn_mapping[i] == btn_pin)
			return i;

	return 0;  // NO_PIN
}

uint8_t Btn_Read(const uint16_t btn_pin)
{
	const uint8_t ind = Btn_Index(btn_pin);
	btn_arr[ind].prev_state = btn_arr[ind].state;
	return btn_arr[ind].state;
}

uint8_t Btn_Hold(const uint16_t btn_pin, const uint16_t hold_time_ms)
{
	const uint8_t ind = Btn_Index(btn_pin);
	const uint8_t hold = ms_ticks - btn_arr[ind].ms_change >= hold_time_ms;
	return hold && btn_arr[ind].state;

}

uint8_t Btn_Falling(const uint16_t btn_pin)
{
// WARNING: this makes that falling egde can't be detected more than once but that's a problem if
// one wants to use multiple falling edge detections for a single button press

	const uint8_t ind = Btn_Index(btn_pin);
	const uint8_t is_falling = (btn_arr[ind].prev_state == 0 && btn_arr[ind].state == 1);
	btn_arr[ind].prev_state = btn_arr[ind].state;

	return is_falling;
}

uint8_t Btn_Rising(const uint16_t btn_pin)
{
// WARNING: this makes that rising egde can't be detected more than once but that's a problem if
// one wants to use multiple rising edge detections for a single button press

	const uint8_t ind = Btn_Index(btn_pin);
	const uint8_t is_rising = (btn_arr[ind].prev_state == 1 && btn_arr[ind].state == 0);
	btn_arr[ind].prev_state = btn_arr[ind].state;
	return is_rising;
}

void Button_Actions(void)
{
	Temps16 temps;

	if (Btn_Falling(BTN_UP_Pin))
	{
		temps = Temp_Max_All_Time();
		Print_Simple(3, " Max of All Time");
		Print_Temps(4, temps);
	}

	if (Btn_Falling(BTN_LEFT_Pin))
	{
		temps = Temp_Max_Last_Day();
		Print_Simple(3, " Max of The Day");
		Print_Temps(4, temps);
	}

	while (Btn_Read(BTN_CENTER_Pin))
	{
		const uint16_t erase_hold_time = 3000;
		int erase_in = erase_hold_time - ms_ticks + btn_arr[Btn_Index(BTN_CENTER_Pin)].ms_change;

		Print_Simple(1, "     WARNING         \n");
		Print_Simple(2, "   KEEP HOLDING      \n");
		Print_Simple(3, " TO ERASE EEPROM     \n");
		Print_Simple(4, " ERASING IN: %04d    \n", MAX(0, erase_in));
		SSD1306_UpdateScreen();

		if (Btn_Hold(BTN_CENTER_Pin, erase_hold_time))
		{
			Print_Simple(1, "                     \n");
			Print_Simple(2, "   EEPROM ERASED     \n");
			Print_Simple(3, "                     \n");
			Print_Simple(4, "                     \n");
			SSD1306_UpdateScreen();

			EEPROM_Erase();
			Reset_Cycles();

			SSD1306_Fill(0);
			break;
		}

		HAL_Delay(100);
		SSD1306_Fill(0);
	}

	if (Btn_Falling(BTN_RIGHT_Pin))
	{
		temps = Temp_Min_Last_Day();
		Print_Simple(3, " Min of Last Day");
		Print_Temps(4, temps);
	}

	if (Btn_Falling(BTN_DOWN_Pin))
	{
		temps = Temp_Min_All_Time();
		Print_Simple(3, " Min of All Time");
		Print_Temps(4, temps);
	}

	SSD1306_UpdateScreen();
}

Temps16 Temp_Max_All_Time(void)
{
	Temps16 t_max = { 0, 0, 0 };
	for (int i = 0; i < EEPROM_SIZE_BYTES / sizeof(Temps16); i++)
	{
		Temps16 t = Temp_Read(i);
		if (t.temp_adc == EEPROM_ERASED_TEMP)
			break;

		t_max.temp_1w = MAX(t.temp_1w, t_max.temp_1w);
		t_max.temp_i2c = MAX(t.temp_i2c, t_max.temp_i2c);
		t_max.temp_adc = MAX(t.temp_adc, t_max.temp_adc);
	}

	return t_max;
}

Temps16 Temp_Max_Last_Day(void)
{
	Temps16 t_max = { 0, 0, 0 };
	int mem_start = MAX(0, cycle_count - CYCLES_PER_DAY);

	for (int i = mem_start; i < EEPROM_SIZE_BYTES / sizeof(Temps16); i++)
	{
		Temps16 t = Temp_Read(i);
		if (t.temp_adc == EEPROM_ERASED_TEMP)
			break;

		t_max.temp_1w = MAX(t.temp_1w, t_max.temp_1w);
		t_max.temp_i2c = MAX(t.temp_i2c, t_max.temp_i2c);
		t_max.temp_adc = MAX(t.temp_adc, t_max.temp_adc);
	}

	return t_max;
}

Temps16 Temp_Min_All_Time(void)
{
	Temps16 t_min = { UINT16_MAX, UINT16_MAX, UINT16_MAX };

	for (int i = 0; i < EEPROM_SIZE_BYTES / sizeof(Temps16); i++)
	{
		Temps16 t = Temp_Read(i);
		if (t.temp_adc == EEPROM_ERASED_TEMP)
			break;

		t_min.temp_1w = MIN(t.temp_1w, t_min.temp_1w);
		t_min.temp_i2c = MIN(t.temp_i2c, t_min.temp_i2c);
		t_min.temp_adc = MIN(t.temp_adc, t_min.temp_adc);
	}

	return t_min;
}

Temps16 Temp_Min_Last_Day(void)
{
	Temps16 t_min = { UINT16_MAX, UINT16_MAX, UINT16_MAX };
	int mem_start = MAX(0, cycle_count - CYCLES_PER_DAY);

	for (int i = mem_start; i < EEPROM_SIZE_BYTES / sizeof(Temps16); i++)
	{
		Temps16 t = Temp_Read(i);
		if (t.temp_adc == EEPROM_ERASED_TEMP)
			break;

		t_min.temp_1w = MIN(t.temp_1w, t_min.temp_1w);
		t_min.temp_i2c = MIN(t.temp_i2c, t_min.temp_i2c);
		t_min.temp_adc = MIN(t.temp_adc, t_min.temp_adc);
	}

	return t_min;
}

/* USER CODE END 4 */

void Error_Handler(void)
{
}

/************************ (C) COPYRIGHT STMicroelectronics *****END OF FILE****/
